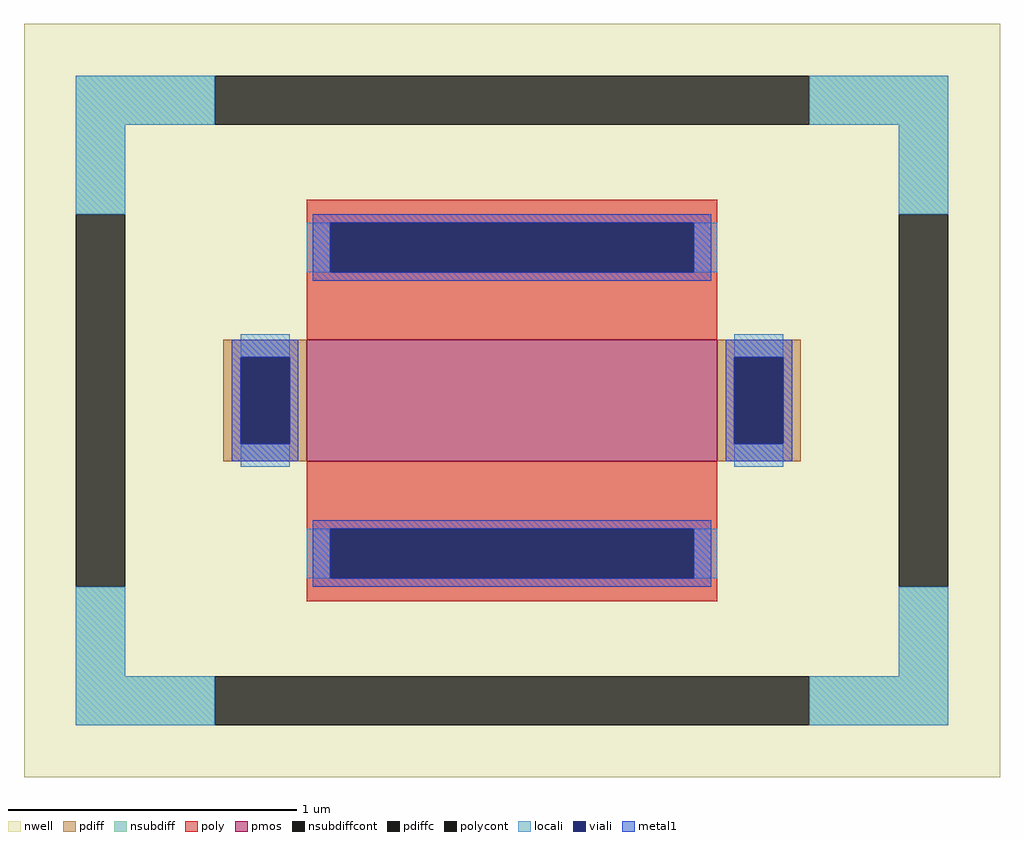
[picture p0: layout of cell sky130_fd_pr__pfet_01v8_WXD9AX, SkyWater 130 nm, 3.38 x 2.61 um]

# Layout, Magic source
magic
tech sky130A
magscale 1 2
<< nwell >>
rect -338 -261 338 261
<< pmos >>
rect -142 -42 142 42
<< pdiff >>
rect -200 30 -142 42
rect -200 -30 -188 30
rect -154 -30 -142 30
rect -200 -42 -142 -30
rect 142 30 200 42
rect 142 -30 154 30
rect 188 -30 200 30
rect 142 -42 200 -30
<< pdiffc >>
rect -188 -30 -154 30
rect 154 -30 188 30
<< nsubdiff >>
rect -302 191 -206 225
rect 206 191 302 225
rect -302 129 -268 191
rect 268 129 302 191
rect -302 -191 -268 -129
rect 268 -191 302 -129
rect -302 -225 -206 -191
rect 206 -225 302 -191
<< nsubdiffcont >>
rect -206 191 206 225
rect -302 -129 -268 129
rect 268 -129 302 129
rect -206 -225 206 -191
<< poly >>
rect -142 123 142 139
rect -142 89 -126 123
rect 126 89 142 123
rect -142 42 142 89
rect -142 -89 142 -42
rect -142 -123 -126 -89
rect 126 -123 142 -89
rect -142 -139 142 -123
<< polycont >>
rect -126 89 126 123
rect -126 -123 126 -89
<< locali >>
rect -302 191 -206 225
rect 206 191 302 225
rect -302 129 -268 191
rect 268 129 302 191
rect -142 89 -126 123
rect 126 89 142 123
rect -188 30 -154 46
rect -188 -46 -154 -30
rect 154 30 188 46
rect 154 -46 188 -30
rect -142 -123 -126 -89
rect 126 -123 142 -89
rect -302 -191 -268 -129
rect 268 -191 302 -129
rect -302 -225 -206 -191
rect 206 -225 302 -191
<< viali >>
rect -126 89 126 123
rect -188 -30 -154 30
rect 154 -30 188 30
rect -126 -123 126 -89
<< metal1 >>
rect -138 123 138 129
rect -138 89 -126 123
rect 126 89 138 123
rect -138 83 138 89
rect -194 30 -148 42
rect -194 -30 -188 30
rect -154 -30 -148 30
rect -194 -42 -148 -30
rect 148 30 194 42
rect 148 -30 154 30
rect 188 -30 194 30
rect 148 -42 194 -30
rect -138 -89 138 -83
rect -138 -123 -126 -89
rect 126 -123 138 -89
rect -138 -129 138 -123
<< properties >>
string FIXED_BBOX -285 -208 285 208
string gencell sky130_fd_pr__pfet_01v8
string library sky130
string parameters w 0.42 l 1.42 m 1 nf 1 diffcov 100 polycov 100 guard 1 glc 1 grc 1 gtc 1 gbc 1 tbcov 100 rlcov 100 topc 1 botc 1 poverlap 0 doverlap 1 lmin 0.15 wmin 0.42 compatible {sky130_fd_pr__pfet_01v8  sky130_fd_pr__pfet_01v8_lvt sky130_fd_pr__pfet_01v8_hvt  sky130_fd_pr__pfet_g5v0d10v5} full_metal 1 viasrc 100 viadrn 100 viagate 100 viagb 0 viagr 0 viagl 0 viagt 0
<< end >>
